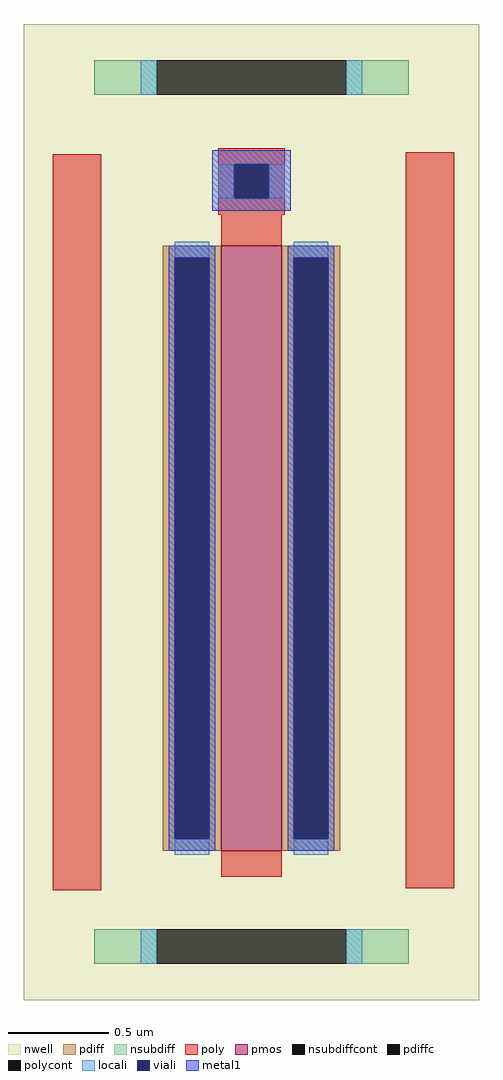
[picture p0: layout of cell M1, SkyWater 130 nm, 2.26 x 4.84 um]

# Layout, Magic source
magic
tech sky130B
magscale 1 2
<< nwell >>
rect -226 -484 226 484
<< pmos >>
rect -30 -336 30 264
<< pdiff >>
rect -88 252 -30 264
rect -88 -324 -76 252
rect -42 -324 -30 252
rect -88 -336 -30 -324
rect 30 252 88 264
rect 30 -324 42 252
rect 76 -324 88 252
rect 30 -336 88 -324
<< pdiffc >>
rect -76 -324 -42 252
rect 42 -324 76 252
<< nsubdiff >>
rect -156 414 -94 448
rect 94 414 156 448
rect -156 -448 -94 -414
rect 94 -448 156 -414
<< nsubdiffcont >>
rect -94 414 94 448
rect -94 -448 94 -414
<< poly >>
rect -197 -375 -149 355
rect -33 345 33 361
rect -33 311 -17 345
rect 17 311 33 345
rect -33 295 33 311
rect -30 264 30 295
rect -30 -362 30 -336
rect 153 -373 201 357
<< polycont >>
rect -17 311 17 345
<< locali >>
rect -110 414 -94 448
rect 94 414 110 448
rect -33 311 -17 345
rect 17 311 33 345
rect -76 252 -42 268
rect -76 -340 -42 -324
rect 42 252 76 268
rect 42 -340 76 -324
rect -110 -448 -94 -414
rect 94 -448 110 -414
<< viali >>
rect -17 311 17 345
rect -76 -324 -42 252
rect 42 -324 76 252
<< metal1 >>
rect -39 345 39 359
rect -39 311 -17 345
rect 17 311 39 345
rect -39 299 39 311
rect -82 252 -36 264
rect -82 -324 -76 252
rect -42 -324 -36 252
rect -82 -336 -36 -324
rect 36 252 82 264
rect 36 -324 42 252
rect 76 -324 82 252
rect 36 -336 82 -324
<< properties >>
string FIXED_BBOX -173 -431 173 431
string gencell sky130_fd_pr__pfet_01v8
string library sky130
string parameters w 3 l .3 m 1 nf 1 diffcov 100 polycov 100 guard 1 glc 0 grc 0 gtc 1 gbc 1 tbcov 100 rlcov 100 topc 1 botc 0 poverlap 0 doverlap 1 lmin 0.15 wmin 0.42 compatible {sky130_fd_pr__pfet_01v8  sky130_fd_pr__pfet_01v8_lvt sky130_fd_pr__pfet_01v8_hvt  sky130_fd_pr__pfet_g5v0d10v5} full_metal 0 viasrc 100 viadrn 100 viagate 100 viagb 0 viagr 0 viagl 0 viagt 0
<< end >>
